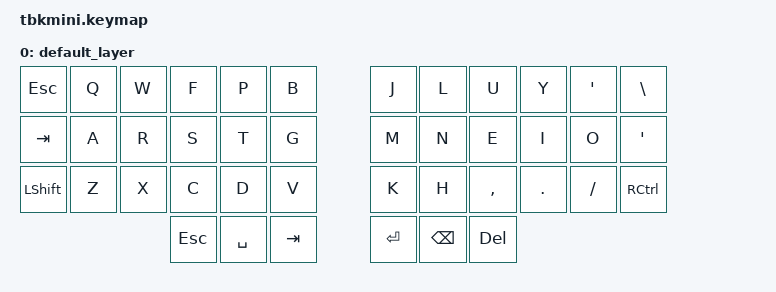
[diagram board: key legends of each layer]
#include <behaviors.dtsi>
#include <dt-bindings/zmk/keys.h>

/ {
    keymap {
        compatible = "zmk,keymap";

        default_layer {
            bindings = <
                &kp ESC   &kp Q &kp W &kp F &kp P &kp B          &kp J &kp L  &kp U     &kp Y   &kp SQT  &kp BSLH
                &kp TAB   &kp A &kp R &kp S &kp T &kp G          &kp M &kp N  &kp E     &kp I   &kp O    &kp SQT
                &kp LSHFT &kp Z &kp X &kp C &kp D &kp V          &kp K &kp H  &kp COMMA &kp DOT &kp FSLH &kp RCTRL
                                &kp ESC  &kp SPC &kp TAB         &kp RET &kp BSPC &kp DEL
            >;
        };
    };
};
